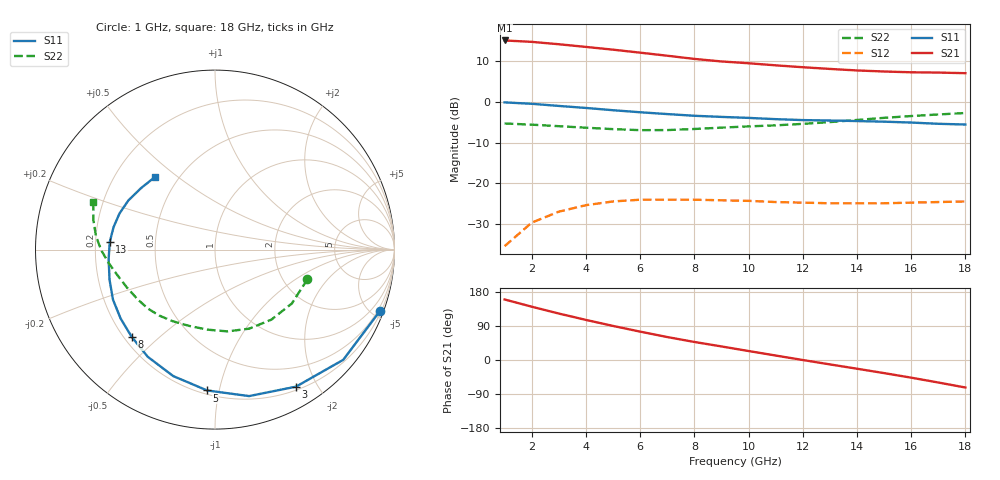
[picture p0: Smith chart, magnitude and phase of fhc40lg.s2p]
! FHC40LG.s2p
! @2V-10mA
! .1GHZ 18GHZ
# GHZ S MA R 50
! S-parameter data
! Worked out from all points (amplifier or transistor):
!   18 points, 1 GHz to 18 GHz, reference 50 ohm
!   highest |S21| = 15.0 dB at 1 GHz (marker M1)
!   |S21| within 3 dB of that: start of sweep to 6.016 GHz
!   unconditionally stable (mu >= 1): 8.703 GHz to 17.92 GHz
!   at 4 GHz: K = 0.46, MSG = 19.4 dB, |S12| = -25.4 dB
!   at 10 GHz: K = 1.11, MAG = 14.8 dB, |S12| = -24.3 dB
!   at 18 GHz: K = 0.99, MSG = 15.7 dB, |S12| = -24.4 dB
!   lowest NFmin = 0.28 dB at 2 GHz
!   S11 on the Smith chart (normalised r, x): 1 GHz: 0.31, -5.49; 3 GHz: 0.24, -1.73; 5 GHz: 0.22, -0.92; 8 GHz: 0.23, -0.41; 13 GHz: 0.26, +0.03; 18 GHz: 0.37, +0.41
1  0.98 -20.6  5.62 159.7  0.017 75.8  0.541 -17.8
2  0.942 -40.7  5.401 140.7  0.033 61.6  0.523 -35.0
3  0.887 -59.4  5.051 122.6  0.045 49.5  0.501 -51.2
4  0.838 -76.9  4.685 105.8  0.054 38.5  0.48 -66.6
5  0.786 -93.2  4.334 89.9  0.06 28.5  0.461 -81.3
6  0.742 -108.3  3.984 74.9  0.063 20.2  0.448 -95.4
7  0.705 -122.1  3.654 60.6  0.063 12.9  0.449 -108.9
8  0.672 -133.7  3.34 47.6  0.063 7.2  0.463 -120.3
9  0.651 -143.9  3.11 35.8  0.062 3.2  0.481 -130.1
10  0.633 -153.9  2.954 23.7  0.061 -0.2  0.498 -138.8
11  0.611 -164.1  2.786 11.8  0.059 -2.9  0.513 -147.6
12  0.595 -174.8  2.641 0.0  0.058 -5.1  0.535 -157.0
13  0.588 176.0  2.518 -11.6  0.057 -6.7  0.562 -165.3
14  0.579 167.6  2.412 -23.0  0.057 -7.9  0.597 -172.8
15  0.569 159.3  2.342 -34.6  0.057 -10.1  0.634 -179.7
16  0.555 150.5  2.29 -46.6  0.058 -12.9  0.667 173.6
17  0.536 140.3  2.272 -59.4  0.059 -17.0  0.697 166.4
18  0.525 129.9  2.233 -72.6  0.06 -22.4  0.727 158.8
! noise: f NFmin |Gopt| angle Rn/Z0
2  0.28  0.86  31  0.19
4  0.3  0.87  57  0.18
5  0.32  0.865  70  0.155
6  0.34  0.86  83  0.13
8  0.39  0.81  108  0.09
10  0.47  0.74  132  0.05
12  0.55  0.63  156  0.03
14  0.67  0.49  179  0.04
16  0.81  0.33  -158  0.07
18  1  0.13  -136  0.11
